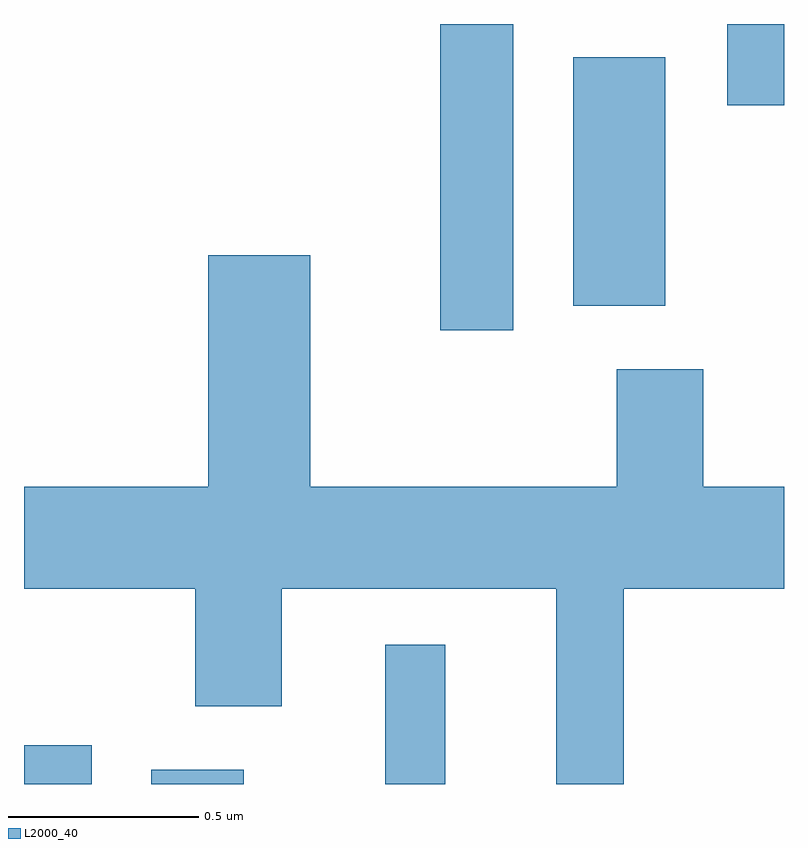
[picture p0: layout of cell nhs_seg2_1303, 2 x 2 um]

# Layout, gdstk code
import gdstk
lib = gdstk.Library(unit=1e-6, precision=1e-09)
def R(c, l, rs):  # rectangles x0, y0, x1, y1
    for r in rs: c.add(gdstk.rectangle(r[:2], r[2:], *l))
def P(c, l, *ps):  # polygons
    for p in ps: c.add(gdstk.Polygon(p, *l))
L2000_40 = (2000, 40)

nhs_seg2_1303 = lib.new_cell('nhs_seg2_1303')
R(nhs_seg2_1303, L2000_40, [(194.611,1047.802,194.789,1047.904), (194.946,1047.802,195.189,1047.839), (195.561,1047.802,195.719,1048.168), (195.706,1048.996,195.899,1049.802), (196.056,1049.061,196.299,1049.714), (196.461,1049.588,196.611,1049.802)])
P(nhs_seg2_1303, L2000_40, [(196.189,1048.316),(196.611,1048.316),(196.611,1048.584),(196.399,1048.584),(196.399,1048.894),(196.171,1048.894),(196.171,1048.584),(195.364,1048.584),(195.364,1049.194),(195.096,1049.194),(195.096,1048.584),(194.611,1048.584),(194.611,1048.316),(195.061,1048.316),(195.061,1048.006),(195.289,1048.006),(195.289,1048.316),(196.011,1048.316),(196.011,1047.802),(196.189,1047.802)])

lib.write_gds('nhs_seg2_1303.gds')
